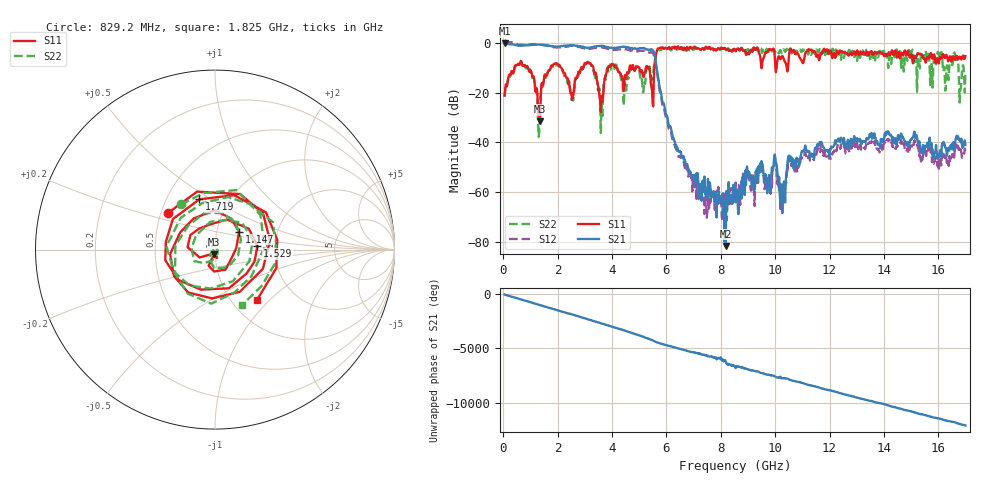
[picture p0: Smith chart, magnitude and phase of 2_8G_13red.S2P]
! C:\Users\LSO\Desktop\2_8G_13red.S2P
! Touchstone 1.1 file saved by VNA.EXE V1.65 (www.ke5fx.com/gpib/readme.htm)
! 2. 04. 2024 10:16:10
!  Source: HP8510C.07.14: Aug 26  1998
!  Min freq: 4.500000E+007 Hz
!  Max freq: 1.700000E+010 Hz
!  Points: 801
!  Params: S11 S21 S12 S22
# GHZ S DB R 50
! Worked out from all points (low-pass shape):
!   801 points, 45 MHz to 17 GHz, reference 50 ohm
!   highest |S21| = -0.06 dB at 45 MHz (marker M1); lowest = -81.8 dB at 8.183 GHz (marker M2)
!   |S21| within 3 dB of the highest: start of sweep to 5.515 GHz
!   lowest |S11| = -31.5 dB at 1.338 GHz (marker M3), VSWR 1.05, Z = 49.3 - j2.54 ohm
!   |S11| at or under -10 dB: 908.9 MHz to 1.737 GHz (827.8 MHz wide, 62.6 % of centre); 2.137 GHz to 2.855 GHz (717.9 MHz wide, 28.8 % of centre); 3.313 GHz to 3.846 GHz (532.7 MHz wide, 14.9 % of centre)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
!   |S22| runs from -37.7 to -1.5 dB; largest |S21 - S12| = 2
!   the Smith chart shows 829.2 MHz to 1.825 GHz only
!   S11 on the Smith chart (normalised r, x): 829.2 MHz: 0.55, +0.25; 1.147 GHz: 1.28, +0.26; 1.529 GHz: 1.62, +0.07; 1.719 GHz: 0.73, +0.44; 1.825 GHz: 1.30, -0.84
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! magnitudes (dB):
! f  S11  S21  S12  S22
! 45 MHz  -21.0  -0.1  1.2  -21.6
! 829.2 MHz  -9.6  -0.8  -0.6  -10.0
! 1.147 GHz  -15.5  -0.5  -0.4  -16.2
! 1.338 GHz  -31.5  -0.5  -0.5  -30.9
! 1.529 GHz  -12.5  -0.7  -0.9  -13.2
! 1.719 GHz  -10.7  -1.0  -1.3  -10.4
! 1.825 GHz  -8.8  -1.2  -1.5  -9.3
! 2.525 GHz  -22.7  -0.8  -1.0  -22.4
! 2.885 GHz  -9.6  -1.3  -1.8  -10.5
! 3.584 GHz  -27.6  -1.0  -1.6  -36.2
! 3.966 GHz  -8.5  -1.7  -2.4  -10.6
! 5.471 GHz  -18.8  -2.5  -3.7  -14.4
! 5.704 GHz  -2.0  -14.4  -15.5  -3.3
! 7.018 GHz  -1.5  -53.0  -55.6  -2.5
! 8.183 GHz  -2.4  -81.8  -63.8  -2.4
! 8.523 GHz  -2.8  -57.3  -59.3  -2.3
! 9.964 GHz  -3.0  -46.1  -49.5  -2.5
! 10.28 GHz  -5.3  -58.2  -62.8  -2.8
! 10.54 GHz  -2.8  -47.6  -47.8  -2.5
! 11.36 GHz  -2.9  -44.8  -46.3  -3.5
! 14.18 GHz  -3.6  -36.0  -39.3  -7.4
! 17 GHz  -5.2  -41.0  -43.6  -12.0
